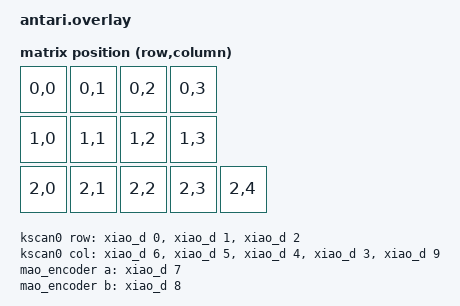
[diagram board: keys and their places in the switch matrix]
/*
 * Copyright (c) 2020 The ZMK Contributors
 *
 * SPDX-License-Identifier: MIT
 */

#include <dt-bindings/zmk/matrix_transform.h>
#include <dt-bindings/zmk/rgb.h>
#include <dt-bindings/gpio/gpio.h>

&xiao_serial { status = "disabled"; };

/ {
	chosen {
		zmk,kscan = &kscan0;
		zmk,matrix_transform = &default_transform;
		zmk,underglow = &led_strip;
	};

	default_transform: keymap_transform_0 {
		compatible = "zmk,matrix-transform";
		columns = <5>;
		rows = <3>;
	
		map = <
RC(0,0) RC(0,1) RC(0,2) RC(0,3)  
RC(1,0) RC(1,1) RC(1,2) RC(1,3)  
RC(2,0) RC(2,1) RC(2,2) RC(2,3) RC(2,4) 
		>;
	};

	kscan0: kscan_0 {
		compatible = "zmk,kscan-gpio-matrix";
		diode-direction = "col2row";
		debounce-press-ms = <1>;
		debounce-release-ms = <5>;
		
		col-gpios
			= <&xiao_d 6 GPIO_ACTIVE_HIGH>
			, <&xiao_d 5 GPIO_ACTIVE_HIGH>
			, <&xiao_d 4 GPIO_ACTIVE_HIGH>
			, <&xiao_d 3 GPIO_ACTIVE_HIGH>
			, <&xiao_d 9 GPIO_ACTIVE_HIGH>
			;
		
		row-gpios
			= <&xiao_d 0 (GPIO_ACTIVE_HIGH | GPIO_PULL_DOWN)>
			, <&xiao_d 1 (GPIO_ACTIVE_HIGH | GPIO_PULL_DOWN)>
			, <&xiao_d 2 (GPIO_ACTIVE_HIGH | GPIO_PULL_DOWN)>
			;
	};

	mao_encoder: mao_encoder {
		compatible = "alps,ec11";
		a-gpios = <&xiao_d 7 (GPIO_ACTIVE_HIGH | GPIO_PULL_UP)>;
		b-gpios = <&xiao_d 8 (GPIO_ACTIVE_HIGH | GPIO_PULL_UP)>;
		steps = <80>;
		status = "disabled";
	};

	sensors {
		compatible = "zmk,keymap-sensors";
		sensors = <&mao_encoder>;
		triggers-per-rotation = <20>;
	};

	led_strip: ws2812 {
		compatible = "worldsemi,ws2812-gpio";
		chain-length = <12>;
		in-gpios = <&xiao_d 10 GPIO_ACTIVE_HIGH>;
		color-mapping = <LED_COLOR_ID_GREEN
                         LED_COLOR_ID_RED
                         LED_COLOR_ID_BLUE>;
	};
};

&mao_encoder { 
	status = "okay"; 
};
